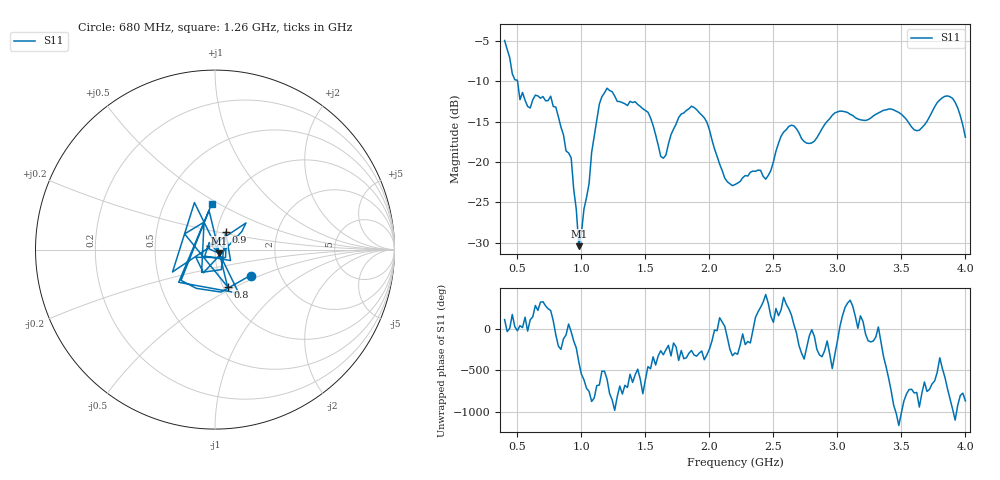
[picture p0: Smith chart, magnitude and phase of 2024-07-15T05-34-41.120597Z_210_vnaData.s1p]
!Created with skrf (http://scikit-rf.org).
# Hz S RI R 50.0
!freq ReS11 ImS11
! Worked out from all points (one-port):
!   181 points, 400 MHz to 4 GHz, reference 50 ohm
!   lowest |S11| = -30.4 dB at 980 MHz (marker M1), VSWR 1.06, Z = 52.2 - j2.16 ohm
!   |S11| at or under -10 dB: 500.9 MHz to end of sweep
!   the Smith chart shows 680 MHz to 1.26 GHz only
!   S11 on the Smith chart (normalised r, x): 680 MHz: 1.42, -0.45; 800 MHz: 1.05, -0.46; 900 MHz: 1.10, +0.22; 1.26 GHz: 0.85, +0.46
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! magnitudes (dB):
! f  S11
! 400 MHz  -5.0
! 520 MHz  -12.3
! 680 MHz  -12.1
! 800 MHz  -13.2
! 860 MHz  -16.7
! 900 MHz  -18.9
! 920 MHz  -19.5
! 980 MHz  -30.4
! 1.14 GHz  -12.8
! 1.2 GHz  -10.9
! 1.26 GHz  -11.8
! 1.3 GHz  -12.5
! 1.52 GHz  -13.8
! 1.64 GHz  -19.5
! 1.76 GHz  -14.5
! 1.96 GHz  -14.5
! 2.12 GHz  -22.0
! 2.2 GHz  -22.8
! 2.44 GHz  -22.1
! 2.56 GHz  -16.8
! 2.66 GHz  -15.5
! 2.78 GHz  -17.7
! 2.98 GHz  -13.9
! 3.1 GHz  -14.1
! 3.56 GHz  -15.2
! 3.64 GHz  -16.1
! 3.86 GHz  -11.8
! 4 GHz  -16.9
